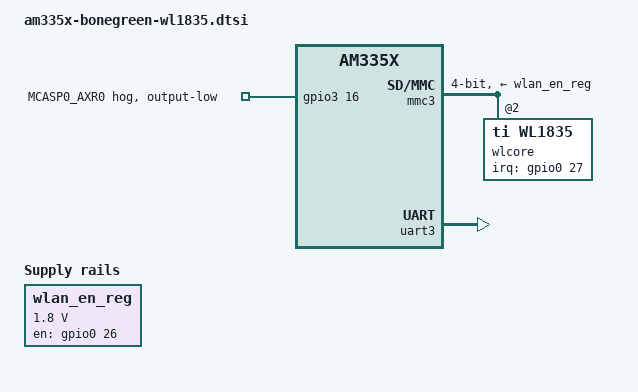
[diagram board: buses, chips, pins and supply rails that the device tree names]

#include <dt-bindings/interrupt-controller/irq.h>

/ {
	wlan_en_reg: fixedregulator@2 {
		compatible = "regulator-fixed";
		regulator-name = "wlan-en-regulator";
		regulator-min-microvolt = <1800000>;
		regulator-max-microvolt = <1800000>;
		startup-delay-us= <70000>;

		/* WL_EN */
		gpio = <&gpio0 26 0>;
		enable-active-high;
	};

	btwilink {
		compatible = "btwilink";
	};

	wilink8_pcm: wilink8_pcm {
		compatible = "ti,wilink8_bt";
		status = "okay";
	};

	sound{
		compatible = "ti,wilink8-bt-audio";
		ti,model = "WILINK8_BT";
		ti,audio-codec = <&wilink8_pcm>;
		ti,mcasp-controller = <&mcasp0>;
		ti,codec-clock-rate = <24000000>;
	};
};

&am33xx_pinmux {
	bt_pins: pinmux_bt_pins {
		pinctrl-single,pins = <
			0x78 (PIN_OUTPUT | MUX_MODE7)	/* gpmc_ad12.gpio1_28 BT_EN*/
		>;
	};

	mmc3_pins: pinmux_mmc3_pins {
		pinctrl-single,pins = <
			0x8c ( PIN_INPUT_PULLUP | MUX_MODE3 ) /* gpio2_1 gpmc_clk.mmc2_clk */
			0x88 ( PIN_INPUT_PULLUP | MUX_MODE3) /* gpio2_0 gpmc_csn3.mmc2_cmd */
			0x30 ( PIN_INPUT_PULLUP | MUX_MODE3 ) /* gpio1_12 gpmc_ad12.mmc2_dat0 */
			0x34 ( PIN_INPUT_PULLUP | MUX_MODE3 ) /* gpio1_13 gpmc_ad13.mmc2_dat1 */
			0x38 ( PIN_INPUT_PULLUP | MUX_MODE3 ) /* gpio1_14 gpmc_ad14.mmc2_dat2 */
			0x3c ( PIN_INPUT_PULLUP | MUX_MODE3 ) /* gpio1_15 gpmc_ad15.mmc2_dat3 */
		>;
	};

	mmc3_pins_sleep: pinmux_mmc3_pins_sleep {
		pinctrl-single,pins = <
			0x8c (PIN_INPUT_PULLDOWN | MUX_MODE7) /* gpio2_1 gpmc_clk.mmc2_clk */
			0x88 (PIN_INPUT_PULLDOWN | MUX_MODE7) /* gpio2_0 gpmc_csn3.mmc2_cmd */
			0x30 (PIN_INPUT_PULLDOWN | MUX_MODE7) /* gpio1_12 gpmc_ad12.mmc2_dat0 */
			0x34 (PIN_INPUT_PULLDOWN | MUX_MODE7) /* gpio1_13 gpmc_ad13.mmc2_dat1 */
			0x38 (PIN_INPUT_PULLDOWN | MUX_MODE7) /* gpio1_14 gpmc_ad14.mmc2_dat2 */
			0x3c (PIN_INPUT_PULLDOWN | MUX_MODE7) /* gpio1_15 gpmc_ad15.mmc2_dat3 */
		>;
	};

	/* wl18xx card enable/irq GPIOs. */
	wlan_pins: pinmux_wlan_pins {
		pinctrl-single,pins = <
			0x28 (PIN_OUTPUT_PULLDOWN| MUX_MODE7)	/* gpmc_ad10.gpio0_26 WL_EN*/
			0x2C (PIN_INPUT_PULLDOWN | MUX_MODE7)	/* gpmc_ad11.gpio0_27 WL_IRQ*/
			0x7C (PIN_OUTPUT_PULLUP | MUX_MODE0)	/* gpmc_csn0.gpio1_29 Cape_Buffer_EN*/
		>;
	};

	/* wl18xx card enable/irq GPIOs. */
	wlan_pins_sleep: pinmux_wlan_pins_sleep {
		pinctrl-single,pins = <
			0x28 (PIN_OUTPUT_PULLDOWN | MUX_MODE7)	/* gpmc_ad10.gpio0_26 WL_EN*/
			0x2C (PIN_INPUT_PULLDOWN | MUX_MODE7)	/* gpmc_ad11.gpio0_27 WL_IRQ*/
			0x7C (PIN_OUTPUT_PULLUP | MUX_MODE0)	/* gpmc_csn0.gpio1_29 Cape_Buffer_EN*/
		>;
	};

	uart3_pins_default: pinmux_uart3_pins_default {
		pinctrl-single,pins = <
			0x134 ( PIN_INPUT_PULLUP | MUX_MODE1 ) 		/* (L17) gmii1_rxd3.uart3_rxd */
			0x138 ( PIN_OUTPUT_PULLDOWN | MUX_MODE1 )	/* (L16) gmii1_rxd2.uart3_txd */
			0x148 ( PIN_INPUT | MUX_MODE3 ) 			/* (M17) mdio_data.uart3_ctsn */
			0x14c ( PIN_OUTPUT_PULLDOWN | MUX_MODE3 ) 	/* (M18) mdio_clk.uart3_rtsn */
		>;
	};

	uart3_pins_sleep: pinmux_uart3_pins_sleep {
		pinctrl-single,pins = <
			0x134 (PIN_INPUT_PULLDOWN | MUX_MODE7)	/* (L17) gmii1_rxd3.uart3_rxd */
			0x138 (PIN_INPUT_PULLDOWN | MUX_MODE7)	/* (L16) gmii1_rxd2.uart3_txd */
			0x148 (PIN_INPUT_PULLDOWN | MUX_MODE7)	/* (M17) mdio_data.uart3_ctsn */
			0x14c (PIN_INPUT_PULLDOWN | MUX_MODE7)	/* (M18) mdio_clk.uart3_rtsn */
		>;
	};
};

&mmc3 {
	dmas = <&edma_xbar 12 0 1
		&edma_xbar 13 0 2>;
	dma-names = "tx", "rx";
	status = "okay";
	vmmc-supply = <&wlan_en_reg>;
	bus-width = <4>;
	pinctrl-names = "default", "sleep";
	pinctrl-0 = <&mmc3_pins &wlan_pins>;
	pinctrl-1 = <&mmc3_pins_sleep &wlan_pins_sleep>;
	ti,non-removable;
	ti,needs-special-hs-handling;
	cap-power-off-card;
	keep-power-in-suspend;

	#address-cells = <1>;
	#size-cells = <0>;
	wlcore: wlcore@0 {
		compatible = "ti,wl1835";
		reg = <2>;
		interrupt-parent = <&gpio0>;
		interrupts = <27 IRQ_TYPE_EDGE_RISING>;
	};
};

&uart3 {
	pinctrl-names = "default", "sleep";
	pinctrl-0 = <&uart3_pins_default &bt_pins>;
	pinctrl-1 = <&uart3_pins_sleep &bt_pins>;
	status = "okay";
};

/* BT_AUD_OUT from wl1835 has to be pulled low when WL_EN is activated.	*/
/* in case it isn't, wilink8 ends up in one of the test modes that      */
/* intruces various issues (elp wkaeup timeouts etc.)			*/
/* On the BBGW this pin is routed through the level shifter (U21) that	*/
/* introduces a pullup on the line and wilink8 ends up in a bad state.  */
/* use a gpio hog to force this pin low. An alternative may be adding 	*/
/* an external pulldown on U21 pin 4.					*/

&gpio3 {
	bt_aud_in {
		gpio-hog;
		gpios = <16 GPIO_ACTIVE_HIGH>;
		output-low;
		line-name = "MCASP0_AXR0";
	};
};
